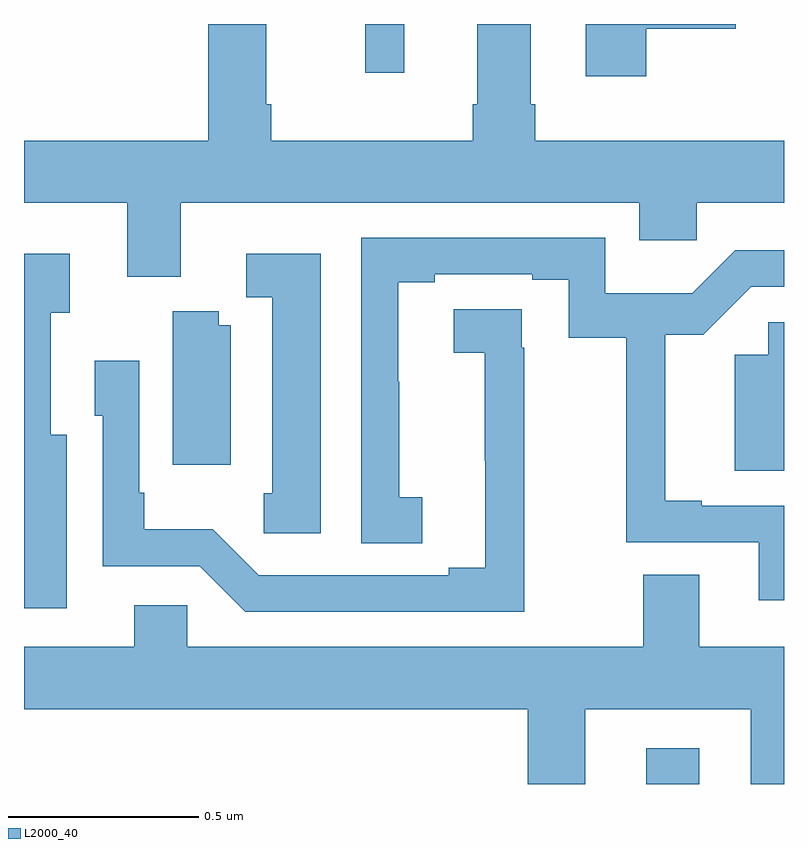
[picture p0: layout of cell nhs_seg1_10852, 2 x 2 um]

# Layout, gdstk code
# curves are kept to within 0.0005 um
import gdstk
lib = gdstk.Library(unit=1e-6, precision=1e-09)
def R(c, l, rs):  # rectangles x0, y0, x1, y1
    for r in rs: c.add(gdstk.rectangle(r[:2], r[2:], *l))
def P(c, l, *ps):  # polygons
    for p in ps: c.add(gdstk.Polygon(p, *l))
L2000_40 = (2000, 40)

nhs_seg1_10852 = lib.new_cell('nhs_seg1_10852')
R(nhs_seg1_10852, L2000_40, [(247.637,554.199,247.777,554.293), (246.898,556.071,247.001,556.199)])
P(nhs_seg1_10852, L2000_40, [(246.412,555.728),(247.619,555.728),(247.619,555.63),(247.771,555.63),(247.771,555.728),(248,555.728),(248,555.892),(247.346,555.892),(247.346,555.988),(247.333,555.988),(247.333,556.199),(247.193,556.199),(247.193,555.988),(247.181,555.988),(247.181,555.892),(246.65,555.892),(246.65,555.988),(246.637,555.988),(246.637,556.199),(246.485,556.199),(246.485,555.892),(246,555.892),(246,555.728),(246.272,555.728),(246.272,555.534),(246.412,555.534)],
  [(247.637,556.186),(247.873,556.186),(247.873,556.199),(247.478,556.199),(247.478,556.062),(247.637,556.062)],
  [(248,554.931),(247.783,554.931),(247.783,554.944),(247.688,554.944),(247.688,555.381),(247.787,555.381),(247.914,555.507),(248,555.507),(248,555.603),(247.872,555.603),(247.759,555.49),(247.53,555.49),(247.53,555.636),(246.888,555.636),(246.888,554.833),(247.048,554.833),(247.048,554.953),(246.987,554.953),(246.987,555.257),(246.985,555.257),(246.985,555.52),(247.081,555.52),(247.081,555.54),(247.337,555.54),(247.337,555.526),(247.434,555.526),(247.434,555.373),(247.585,555.373),(247.585,554.835),(247.934,554.835),(247.934,554.682),(248,554.682)],
  [(246.112,555.118),(246.07,555.118),(246.07,555.439),(246.121,555.439),(246.121,555.595),(246,555.595),(246,554.661),(246.112,554.661)],
  [(246.781,555.595),(246.585,555.595),(246.585,555.48),(246.653,555.48),(246.653,554.964),(246.631,554.964),(246.631,554.859),(246.781,554.859)],
  [(247.316,555.347),(247.31,555.347),(247.31,555.449),(247.131,555.449),(247.131,555.334),(247.213,555.334),(247.214,554.768),(247.118,554.768),(247.118,554.748),(246.618,554.748),(246.497,554.869),(246.316,554.869),(246.316,554.965),(246.303,554.965),(246.303,555.313),(246.186,555.313),(246.186,555.168),(246.207,555.168),(246.207,554.772),(246.462,554.772),(246.582,554.652),(247.316,554.652)],
  [(246.544,555.406),(246.512,555.406),(246.512,555.443),(246.392,555.443),(246.392,555.039),(246.544,555.039)],
  [(248,555.414),(247.959,555.414),(247.959,555.328),(247.871,555.328),(247.871,555.023),(248,555.023)],
  [(247.477,554.396),(247.913,554.396),(247.913,554.199),(248,554.199),(248,554.56),(247.777,554.56),(247.777,554.75),(247.63,554.75),(247.63,554.56),(246.429,554.56),(246.429,554.67),(246.29,554.67),(246.29,554.56),(246,554.56),(246,554.396),(247.325,554.396),(247.325,554.199),(247.477,554.199)])

lib.write_gds('nhs_seg1_10852.gds')
